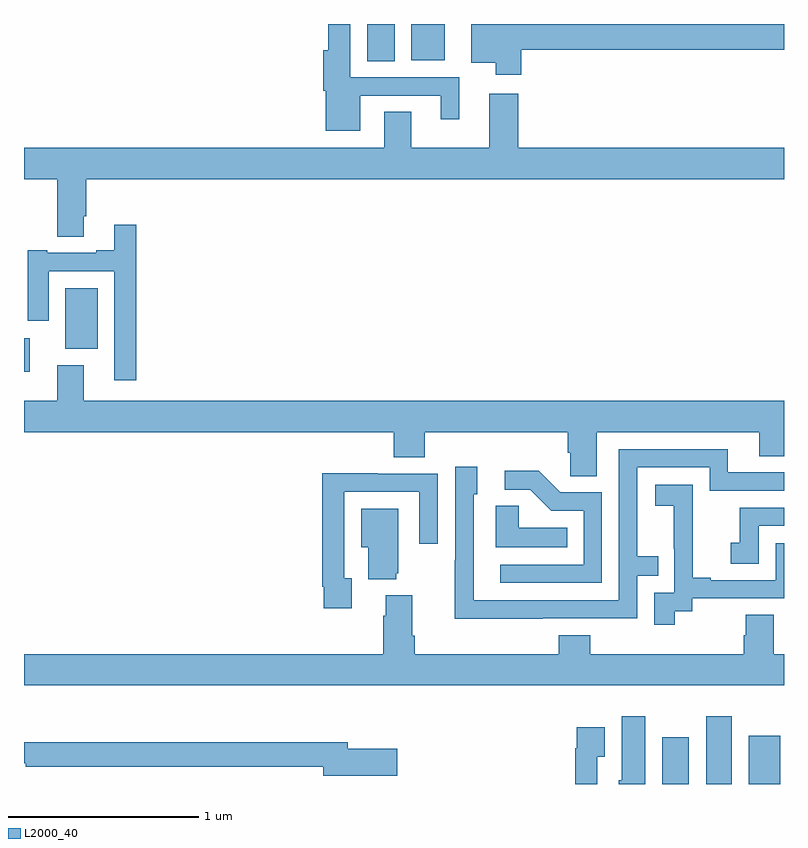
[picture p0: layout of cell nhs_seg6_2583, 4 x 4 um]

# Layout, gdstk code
import gdstk
lib = gdstk.Library(unit=1e-6, precision=1e-09)
def R(c, l, rs):  # rectangles x0, y0, x1, y1
    for r in rs: c.add(gdstk.rectangle(r[:2], r[2:], *l))
def P(c, l, *ps):  # polygons
    for p in ps: c.add(gdstk.Polygon(p, *l))
L2000_40 = (2000, 40)

nhs_seg6_2583 = lib.new_cell('nhs_seg6_2583')
R(nhs_seg6_2583, L2000_40, [(268.358,929.5,268.498,929.746), (268.592,929.5,268.726,929.857), (268.814,929.5,268.981,929.755), (265,931.67,265.03,931.846), (265.217,931.79,265.387,932.11), (266.807,933.304,266.95,933.5), (267.038,933.308,267.214,933.5)])
P(nhs_seg6_2583, L2000_40, [(267.617,933.364),(269,933.364),(269,933.5),(267.353,933.5),(267.353,933.296),(267.482,933.296),(267.482,933.234),(267.617,933.234)],
  [(266.77,933.123),(267.194,933.123),(267.194,933),(267.292,933),(267.292,933.219),(266.718,933.219),(266.718,933.5),(266.602,933.5),(266.602,933.361),(266.576,933.361),(266.576,933.15),(266.588,933.15),(266.588,932.939),(266.77,932.939)],
  [(265.315,932.488),(265.328,932.488),(265.328,932.684),(269,932.684),(269,932.848),(267.602,932.848),(267.602,933.133),(267.449,933.133),(267.449,932.848),(267.037,932.848),(267.037,933.038),(266.897,933.038),(266.897,932.848),(265,932.848),(265,932.684),(265.175,932.684),(265.175,932.38),(265.315,932.38)],
  [(265.592,932.443),(265.475,932.443),(265.475,932.308),(265.379,932.308),(265.379,932.295),(265.123,932.295),(265.123,932.308),(265.019,932.308),(265.019,931.938),(265.129,931.938),(265.129,932.199),(265.476,932.199),(265.476,931.626),(265.592,931.626)],
  [(268.015,931.352),(268.871,931.352),(268.871,931.225),(269,931.225),(269,931.516),(265.315,931.516),(265.315,931.705),(265.175,931.705),(265.175,931.516),(265,931.516),(265,931.352),(266.945,931.352),(266.945,931.219),(267.11,931.219),(267.11,931.352),(267.863,931.352),(267.863,931.243),(267.876,931.243),(267.876,931.12),(268.015,931.12)],
  [(267.731,930.372),(268.227,930.372),(268.227,930.597),(268.337,930.597),(268.337,930.698),(268.227,930.698),(268.227,931.167),(268.608,931.167),(268.608,931.044),(269,931.044),(269,931.14),(268.705,931.14),(268.705,931.263),(268.131,931.263),(268.131,930.468),(267.366,930.468),(267.366,931.026),(267.385,931.026),(267.385,931.171),(267.27,931.171),(267.27,930.677),(267.268,930.677),(267.268,930.371),(267.731,930.371)],
  [(268.041,931.035),(267.822,931.035),(267.709,931.148),(267.531,931.148),(267.531,931.05),(267.665,931.05),(267.776,930.939),(267.945,930.939),(267.945,930.654),(267.507,930.654),(267.507,930.558),(268.041,930.558)],
  [(266.725,930.582),(266.685,930.582),(266.685,931.038),(267.081,931.038),(267.081,930.765),(267.177,930.765),(267.177,931.134),(266.861,931.134),(266.861,931.136),(266.569,931.136),(266.569,930.538),(266.577,930.538),(266.577,930.426),(266.725,930.426)],
  [(268.426,930.409),(268.518,930.409),(268.518,930.477),(269,930.477),(269,930.768),(268.956,930.768),(268.956,930.573),(268.615,930.573),(268.615,930.586),(268.52,930.586),(268.52,930.869),(268.521,930.869),(268.521,931.075),(268.323,931.075),(268.323,930.965),(268.421,930.965),(268.421,930.737),(268.422,930.737),(268.422,930.507),(268.317,930.507),(268.317,930.339),(268.426,930.339)],
  [(267.86,930.85),(267.603,930.85),(267.603,930.965),(267.482,930.965),(267.482,930.746),(267.86,930.746)],
  [(268.866,930.858),(269,930.858),(269,930.954),(268.768,930.954),(268.768,930.769),(268.719,930.769),(268.719,930.66),(268.866,930.66)],
  [(266.96,930.609),(266.971,930.609),(266.971,930.949),(266.774,930.949),(266.774,930.746),(266.813,930.746),(266.813,930.578),(266.96,930.578)],
  [(269,930.184),(268.947,930.184),(268.947,930.392),(268.799,930.392),(268.799,930.282),(268.787,930.282),(268.787,930.184),(267.98,930.184),(267.98,930.283),(267.815,930.283),(267.815,930.184),(267.056,930.184),(267.056,930.28),(267.043,930.28),(267.043,930.493),(266.903,930.493),(266.903,930.386),(266.891,930.386),(266.891,930.184),(265,930.184),(265,930.02),(269,930.02)],
  [(268.27,929.857),(268.145,929.857),(268.145,929.52),(268.13,929.52),(268.13,929.5),(268.27,929.5)],
  [(268.017,929.644),(268.057,929.644),(268.057,929.8),(267.909,929.8),(267.909,929.687),(267.901,929.687),(267.901,929.5),(268.017,929.5)],
  [(266.965,929.685),(266.704,929.685),(266.704,929.719),(265,929.719),(265,929.608),(265.01,929.608),(265.01,929.59),(266.576,929.59),(266.576,929.543),(266.965,929.543)])

lib.write_gds('nhs_seg6_2583.gds')
